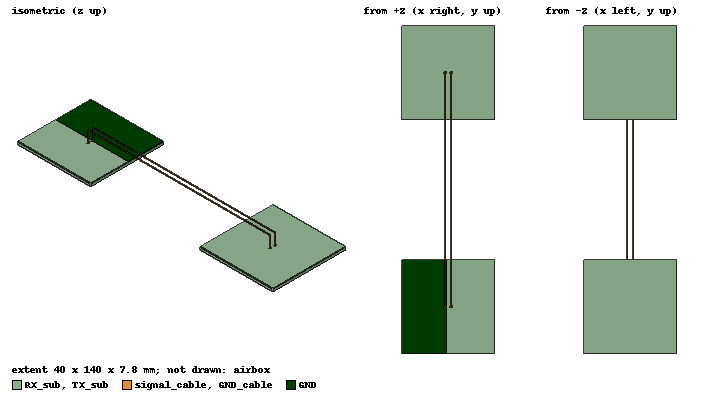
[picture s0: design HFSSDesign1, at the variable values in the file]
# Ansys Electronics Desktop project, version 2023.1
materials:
  vacuum: permittivity=1
  FR4_epoxy: permittivity=4.4 dielectric_loss_tangent=0.02
  copper: permeability=0.999991 conductivity=58000000
  air: permittivity=1.0006 permeability=1.0000004

design HFSSDesign1 (HFSS, HFSS Terminal Network, model units mm)
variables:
  cable_r = 0.2mm
  cable_l = 10cm
  term_r = 10kOhm
  term_c = 4.8pF
  sub_w = 40mm
  d = 2.54mm
  load_r1 = 21ohm
  load_r0 = 18ohm
  load_c0 = 4.68pF
  load_l1 = 4.77nH
  load_l0 = 4.76nH
  h = 1.6mm
  load_c1 = 4.87pF
  pad_w = 1mm
  pad_h = 0.035mm
  total_h = 7.6mm
  airbox_w = sub_w+2*air_margin
  air_margin = 190mm
  airbox_y = cable_l+sub_w+2*air_margin
  airbox_z = total_h + cable_r + 2*air_margin
  airbox_x = airbox_w
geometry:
  TX_sub [FR4_epoxy] = box(corner=(-sub_w/2, -cable_l/2-sub_w/2, 0mm), size=(sub_w, sub_w, h))
  RX_sub [FR4_epoxy] = box(corner=(-sub_w/2, cable_l/2-sub_w/2, 0mm), size=(sub_w, sub_w, h))
  tx_GND_pad [copper] = box(corner=(-d/2-0.5mm, -cable_l/2-0.5mm, h), size=(1mm, 1mm, 0.035mm))
  tx_signal_pad [copper] = box(corner=(d/2-0.5mm, -cable_l/2-0.5mm, h), size=(1mm, 1mm, 0.035mm))
  rx_GND_pad [copper] = box(corner=(-d/2-0.5mm, cable_l/2-0.5mm, h), size=(1mm, 1mm, 0.035mm))
  rx_signal_pad [copper] = box(corner=(d/2-0.5mm, cable_l/2-0.5mm, h), size=(1mm, 1mm, 0.035mm))
  signal_cable [copper] = cylinder(axis=Y, base_centre=(d/2, -cable_l/2, 7.6mm), radius=cable_r, height=cable_l)
  GND_cable [copper] = cylinder(axis=Y, base_centre=(-d/2, -cable_l/2, 7.6mm), radius=cable_r, height=cable_l)
  signal_pin_1 = cylinder(axis=Z, base_centre=(d/2, -cable_l/2, h+0.035mm), radius=cable_r, height=5.965mm)
  signal_pin_2 = cylinder(axis=Z, base_centre=(d/2, cable_l/2, h+0.035mm), radius=cable_r, height=5.965mm)
  GND_pin_1 = cylinder(axis=Z, base_centre=(-d/2, -cable_l/2, h+0.035mm), radius=cable_r, height=5.965mm)
  GND_pin_2 = cylinder(axis=Z, base_centre=(-d/2, cable_l/2, h+0.035mm), radius=cable_r, height=5.965mm)
  GND = rectangle(corner=(-sub_w/2, -cable_l/2-sub_w/2, h), x_size=sub_w/2-d/2+pad_w/2, y_size=sub_w)
  tx_load_rl = rectangle(corner=(-d/2+pad_w/2, -cable_l/2, h+0.035mm), x_size=d-pad_w, y_size=0.1mm)
  tx_load_c = rectangle(corner=(-d/2+pad_w/2, -cable_l/2-0.11mm, h+0.035mm), x_size=d-pad_w, y_size=0.1mm)
  rx_load_rc = rectangle(corner=(-d/2+pad_w/2, cable_l/2, h+0.035mm), x_size=d-pad_w, y_size=0.1mm)
  airbox [air] = box(corner=(-airbox_x/2, -airbox_y/2, -air_margin), size=(airbox_x, airbox_y, airbox_z))
  signal_cable.unite(signal_pin_1, signal_pin_2)
  GND_cable.unite(GND_pin_1, GND_pin_2)
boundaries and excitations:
  PerfE1: Perfect E Objects=GND
  LumpRLC1: Lumped RLC Objects=tx_load_c CurrentLine{(0.77, -50.06, 1.635) -> (-0.77, -50.06, 1.635)} RLC_Type=Parallel Capacitance=load_c1
  LumpRLC2: Lumped RLC Objects=tx_load_rl CurrentLine{(0.77, -49.95, 1.635) -> (-0.77, -49.95, 1.635)} RLC_Type=Serial Resistance=load_r1 Inductance=load_l1
  LumpRLC3: Lumped RLC Objects=rx_load_rc CurrentLine{(0.77, 50.05, 1.635) -> (-0.77, 50.05, 1.635)} RLC_Type=Parallel Resistance=term_r Capacitance=term_c
  Rad1: Radiation Objects=airbox
  IncPWave1: Plane Incident Wave IsCartesian EoX=0 EoY=1 EoZ=0 kX=-1 kY=0 kZ=0 OriginX=0mm OriginY=0mm OriginZ=0mm IsPropagating
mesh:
  Mesh_Pads: LengthBased Objects=[rx_GND_pad, rx_signal_pad, tx_GND_pad, tx_signal_pad] MaxLength=0.25mm
  Mesh_RLC: LengthBased Objects=[tx_load_c, rx_load_rc, tx_load_rl] MaxLength=0.25mm
  Mesh_GND_Plane: LengthBased Objects=GND MaxLength=1mm
  Mesh_Cable_Length: LengthBased Objects=[GND_cable, signal_cable] MaxLength=5mm
  SurfApprox1: SurfApproxBased Objects=[signal_cable, GND_cable] CurvedSurfaceApproxChoice=ManualSettings
  initial mesh: MeshMethod=AnsoftTAU
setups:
  Setup2: HfssDriven Frequency=1.6GHz MaxDeltaE=0.1 MaximumPasses=1 MinimumPasses=1 MinimumConvergedPasses=1 PercentRefinement=30 MeshLink{ImportMesh LinkID=265 Project="This Project*" Product=HFSS Design="This Design*" Params{airbox_w=airbox_w cable_l=cable_l cable_r=cable_r d=d h=h load_c0=load_c0 load_c1=load_c1 load_l0=load_l0 load_l1=load_l1 load_r0=load_r0 load_r1=load_r1 pad_h=pad_h pad_w=pad_w sub_w=sub_w term_c=term_c term_r=term_r total_h=total_h} PathRelativeTo=TargetProject} BasisOrder=1 DoLambdaRefine=false DrivenSolverType="Direct Solver"
    sweep Sweep: 400MHz to 1.6GHz step 10MHz; Type=Discrete SaveFields
  Setup1: HfssDriven Frequency=1.6GHz MaxDeltaE=0.02 MaximumPasses=8 MinimumPasses=2 MinimumConvergedPasses=2 PercentRefinement=20 BasisOrder=1 MaxTetIncrease=150000 DrivenSolverType="Iterative Solver" IterativeResidual=1e-06 DDMSolverResidual=0.0001
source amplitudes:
  IncPWave1:1: 1 0deg
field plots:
  Mesh1, Mesh2, Mesh3, Mesh6: MeshPlots over GND_cable.face(all 9) signal_cable.face(all 9) on Setup1 : LastAdaptive at Freq=1.6GHz Phase=0deg
  Mesh4, Mesh5: MeshPlots over signal_cable.face(all 9) GND_cable.face(all 9) on Setup1 : LastAdaptive at Freq=1.6GHz Phase=0deg
